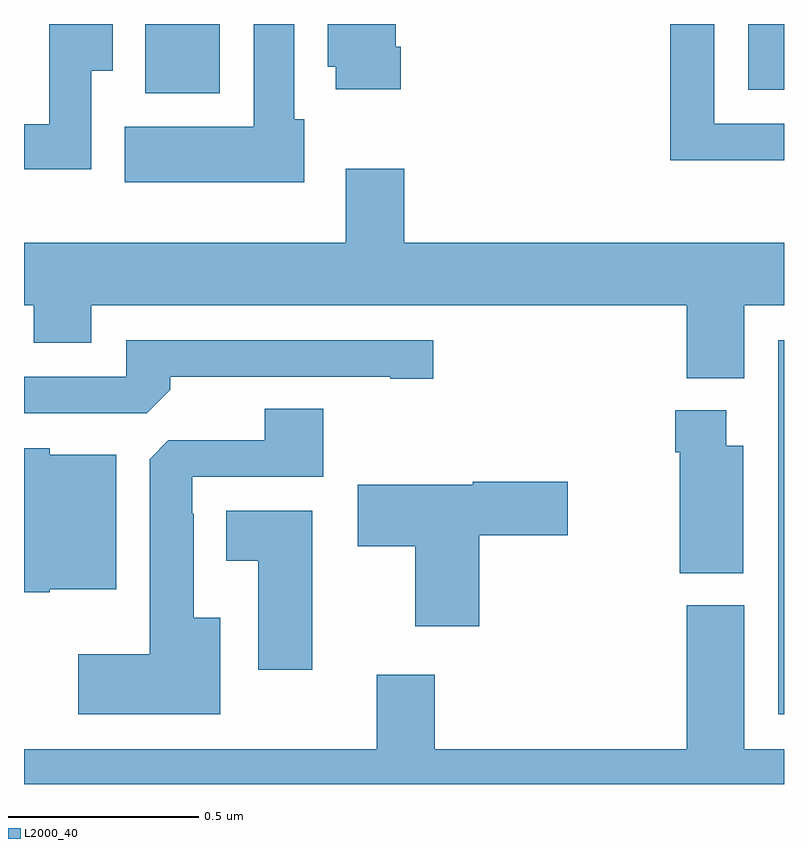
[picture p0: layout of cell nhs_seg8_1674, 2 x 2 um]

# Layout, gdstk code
import gdstk
lib = gdstk.Library(unit=1e-6, precision=1e-09)
def R(c, l, rs):  # rectangles x0, y0, x1, y1
    for r in rs: c.add(gdstk.rectangle(r[:2], r[2:], *l))
def P(c, l, *ps):  # polygons
    for p in ps: c.add(gdstk.Polygon(p, *l))
L2000_40 = (2000, 40)

nhs_seg8_1674 = lib.new_cell('nhs_seg8_1674')
R(nhs_seg8_1674, L2000_40, [(134.985,1122.084,135,1123.068), (133.319,1123.718,133.515,1123.9), (134.906,1123.727,135,1123.9)])
P(nhs_seg8_1674, L2000_40, [(133.177,1123.777),(133.234,1123.777),(133.234,1123.9),(133.067,1123.9),(133.067,1123.636),(133,1123.636),(133,1123.518),(133.177,1123.518)],
  [(133.738,1123.65),(133.711,1123.65),(133.711,1123.9),(133.604,1123.9),(133.604,1123.63),(133.265,1123.63),(133.265,1123.484),(133.738,1123.484)],
  [(134.993,1123.542),(135,1123.542),(135,1123.638),(134.817,1123.638),(134.817,1123.9),(134.701,1123.9),(134.701,1123.541),(134.993,1123.541)],
  [(133.991,1123.84),(133.978,1123.84),(133.978,1123.9),(133.799,1123.9),(133.799,1123.788),(133.82,1123.788),(133.82,1123.728),(133.991,1123.728)],
  [(134.896,1123.16),(135,1123.16),(135,1123.324),(134,1123.324),(134,1123.519),(133.847,1123.519),(133.847,1123.324),(133,1123.324),(133,1123.16),(133.025,1123.16),(133.025,1123.061),(133.177,1123.061),(133.177,1123.16),(134.744,1123.16),(134.744,1122.968),(134.896,1122.968)],
  [(133.385,1122.938),(133.385,1122.972),(133.964,1122.972),(133.964,1122.967),(134.077,1122.967),(134.077,1123.068),(133.269,1123.068),(133.269,1122.972),(133,1122.972),(133,1122.876),(133.323,1122.876)],
  [(133.516,1122.337),(133.447,1122.337),(133.447,1122.611),(133.443,1122.611),(133.443,1122.708),(133.787,1122.708),(133.787,1122.887),(133.634,1122.887),(133.634,1122.804),(133.38,1122.804),(133.331,1122.755),(133.331,1122.241),(133.143,1122.241),(133.143,1122.083),(133.516,1122.083)],
  [(134.893,1122.79),(134.848,1122.79),(134.848,1122.883),(134.714,1122.883),(134.714,1122.773),(134.726,1122.773),(134.726,1122.455),(134.893,1122.455)],
  [(133.068,1122.413),(133.243,1122.413),(133.243,1122.766),(133.068,1122.766),(133.068,1122.784),(133,1122.784),(133,1122.404),(133.068,1122.404)],
  [(134.198,1122.554),(134.431,1122.554),(134.431,1122.696),(134.181,1122.696),(134.181,1122.688),(133.878,1122.688),(133.878,1122.526),(134.03,1122.526),(134.03,1122.315),(134.198,1122.315)],
  [(133.759,1122.619),(133.532,1122.619),(133.532,1122.488),(133.616,1122.488),(133.616,1122.201),(133.759,1122.201)],
  [(135,1121.992),(134.896,1121.992),(134.896,1122.37),(134.744,1122.37),(134.744,1121.992),(134.081,1121.992),(134.081,1122.187),(133.928,1122.187),(133.928,1121.992),(133,1121.992),(133,1121.9),(135,1121.9)])

lib.write_gds('nhs_seg8_1674.gds')
